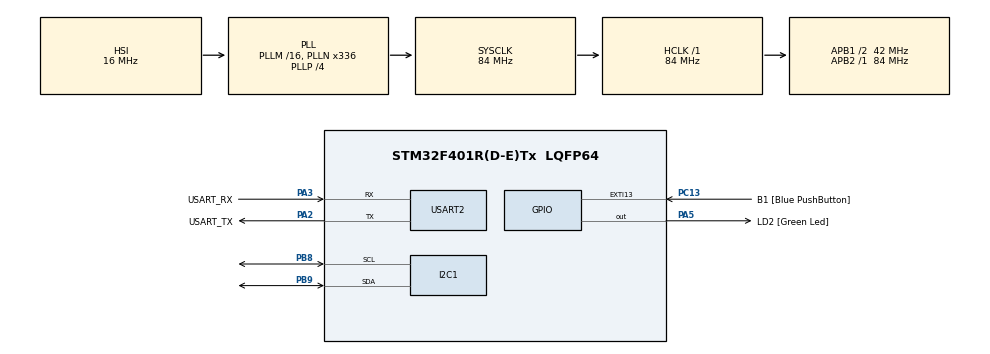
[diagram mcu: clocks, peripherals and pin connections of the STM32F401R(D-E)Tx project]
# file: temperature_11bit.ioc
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I2C1.AddressingMode=I2C_ADDRESSINGMODE_7BIT
Mcu.Family=STM32F4
Mcu.Name=STM32F401R(D-E)Tx
Mcu.Package=LQFP64
NVIC.PriorityGroup=NVIC_PRIORITYGROUP_0
NVIC.TIM2_IRQn=true\:0\:0\:false\:false\:true\:true\:true\:true
PA13.GPIO_Label=TMS
PA13.Mode=Serial_Wire
PA13.Signal=SYS_JTMS-SWDIO
PA14.GPIO_Label=TCK
PA14.Mode=Serial_Wire
PA14.Signal=SYS_JTCK-SWCLK
PA2.GPIO_Label=USART_TX
PA2.GPIO_Mode=GPIO_MODE_AF_PP
PA2.GPIO_PuPd=GPIO_NOPULL
PA2.GPIO_Speed=GPIO_SPEED_FREQ_LOW
PA2.Mode=Asynchronous
PA2.Signal=USART2_TX
PA3.GPIO_Label=USART_RX
PA3.GPIO_Mode=GPIO_MODE_AF_PP
PA3.GPIO_PuPd=GPIO_NOPULL
PA3.GPIO_Speed=GPIO_SPEED_FREQ_LOW
PA3.Mode=Asynchronous
PA3.Signal=USART2_RX
PA5.GPIO_Label=LD2 [Green Led]
PA5.GPIO_Mode=GPIO_MODE_OUTPUT_PP
PA5.GPIO_PuPd=GPIO_NOPULL
PA5.GPIO_Speed=GPIO_SPEED_FREQ_LOW
PA5.Signal=GPIO_Output
PB3.Signal=SYS_JTDO-SWO
PB8.Mode=I2C
PB8.Signal=I2C1_SCL
PB9.Mode=I2C
PB9.Signal=I2C1_SDA
PC13-ANTI_TAMP.GPIO_Label=B1 [Blue PushButton]
PC13-ANTI_TAMP.GPIO_ModeDefaultEXTI=GPIO_MODE_IT_FALLING
PC13-ANTI_TAMP.GPIO_PuPd=GPIO_NOPULL
PC13-ANTI_TAMP.Signal=GPXTI13
PC14-OSC32_IN.Mode=LSE-External-Oscillator
PC14-OSC32_IN.Signal=RCC_OSC32_IN
PC15-OSC32_OUT.Mode=LSE-External-Oscillator
PC15-OSC32_OUT.Signal=RCC_OSC32_OUT
PH0\ -\ OSC_IN.Mode=HSE-External-Clock-Source
PH0\ -\ OSC_IN.Signal=RCC_OSC_IN
PH1\ -\ OSC_OUT.Mode=HSE-External-Clock-Source
PH1\ -\ OSC_OUT.Signal=RCC_OSC_OUT
ProjectManager.HeapSize=0x200
ProjectManager.StackSize=0x400
ProjectManager.TargetToolchain=STM32CubeIDE
RCC.48MHZClocksFreq_Value=48000000
RCC.AHBFreq_Value=84000000
RCC.APB1CLKDivider=RCC_HCLK_DIV2
RCC.APB1Freq_Value=42000000
RCC.APB1TimFreq_Value=84000000
RCC.APB2Freq_Value=84000000
RCC.APB2TimFreq_Value=84000000
RCC.CortexFreq_Value=84000000
RCC.HCLKFreq_Value=84000000
RCC.HSE_VALUE=8000000
RCC.HSI_VALUE=16000000
RCC.PLLN=336
RCC.PLLP=RCC_PLLP_DIV4
RCC.PLLQ=7
RCC.SYSCLKFreq_VALUE=84000000
RCC.SYSCLKSource=RCC_SYSCLKSOURCE_PLLCLK
RCC.VCOOutputFreq_Value=336000000
TIM2.AutoReloadPreload=TIM_AUTORELOAD_PRELOAD_ENABLE
TIM2.Period=1000000-1
TIM2.Prescaler=84-1
USART2.VirtualMode=VM_ASYNC
VP_TIM2_VS_ClockSourceINT.Mode=Internal
board=NUCLEO-F401RE

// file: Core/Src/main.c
/* USER CODE BEGIN Header */
/**
  ******************************************************************************
  * @file           : main.c
  * @brief          : Main program body
  ******************************************************************************
  * @attention
  *
  * Copyright (c) 2022 STMicroelectronics.
  * All rights reserved.
  *
  * This software is licensed under terms that can be found in the LICENSE file
  * in the root directory of this software component.
  * If no LICENSE file comes with this software, it is provided AS-IS.
  *
  ******************************************************************************
  */
/* USER CODE END Header */
#include "main.h"

/* USER CODE BEGIN Includes */
#include <string.h>
#include <stdio.h>
/* USER CODE END Includes */

I2C_HandleTypeDef hi2c1;

TIM_HandleTypeDef htim2;

UART_HandleTypeDef huart2;

/* USER CODE BEGIN PV */
uint8_t TMP_ADDR = 0b10010000;
/* USER CODE END PV */

void SystemClock_Config(void);
static void MX_GPIO_Init(void);
static void MX_USART2_UART_Init(void);
static void MX_I2C1_Init(void);
static void MX_TIM2_Init(void);

int main(void)
{

  /* MCU Configuration--------------------------------------------------------*/

  /* Reset of all peripherals, Initializes the Flash interface and the Systick. */
  HAL_Init();

  /* Configure the system clock */
  SystemClock_Config();

  /* Initialize all configured peripherals */
  MX_GPIO_Init();
  MX_USART2_UART_Init();
  MX_I2C1_Init();
  MX_TIM2_Init();
  /* USER CODE BEGIN 2 */
  HAL_TIM_Base_Start_IT(&htim2);
  HAL_I2C_Master_Transmit(&hi2c1, TMP_ADDR, &TMP_ADDR, 1, 10);
  /* USER CODE END 2 */

  /* Infinite loop */
  while (1)
  {

  }
}

void SystemClock_Config(void)
{
  RCC_OscInitTypeDef RCC_OscInitStruct = {0};
  RCC_ClkInitTypeDef RCC_ClkInitStruct = {0};

  /** Configure the main internal regulator output voltage
  */
  __HAL_RCC_PWR_CLK_ENABLE();
  __HAL_PWR_VOLTAGESCALING_CONFIG(PWR_REGULATOR_VOLTAGE_SCALE2);

  /** Initializes the RCC Oscillators according to the specified parameters
  * in the RCC_OscInitTypeDef structure.
  */
  RCC_OscInitStruct.OscillatorType = RCC_OSCILLATORTYPE_HSI;
  RCC_OscInitStruct.HSIState = RCC_HSI_ON;
  RCC_OscInitStruct.HSICalibrationValue = RCC_HSICALIBRATION_DEFAULT;
  RCC_OscInitStruct.PLL.PLLState = RCC_PLL_ON;
  RCC_OscInitStruct.PLL.PLLSource = RCC_PLLSOURCE_HSI;
  RCC_OscInitStruct.PLL.PLLM = 16;
  RCC_OscInitStruct.PLL.PLLN = 336;
  RCC_OscInitStruct.PLL.PLLP = RCC_PLLP_DIV4;
  RCC_OscInitStruct.PLL.PLLQ = 7;
  if (HAL_RCC_OscConfig(&RCC_OscInitStruct) != HAL_OK)
  {
    Error_Handler();
  }

  /** Initializes the CPU, AHB and APB buses clocks
  */
  RCC_ClkInitStruct.ClockType = RCC_CLOCKTYPE_HCLK|RCC_CLOCKTYPE_SYSCLK
                              |RCC_CLOCKTYPE_PCLK1|RCC_CLOCKTYPE_PCLK2;
  RCC_ClkInitStruct.SYSCLKSource = RCC_SYSCLKSOURCE_PLLCLK;
  RCC_ClkInitStruct.AHBCLKDivider = RCC_SYSCLK_DIV1;
  RCC_ClkInitStruct.APB1CLKDivider = RCC_HCLK_DIV2;
  RCC_ClkInitStruct.APB2CLKDivider = RCC_HCLK_DIV1;

  if (HAL_RCC_ClockConfig(&RCC_ClkInitStruct, FLASH_LATENCY_2) != HAL_OK)
  {
    Error_Handler();
  }
}

static void MX_I2C1_Init(void)
{

  hi2c1.Instance = I2C1;
  hi2c1.Init.ClockSpeed = 100000;
  hi2c1.Init.DutyCycle = I2C_DUTYCYCLE_2;
  hi2c1.Init.OwnAddress1 = 0;
  hi2c1.Init.AddressingMode = I2C_ADDRESSINGMODE_7BIT;
  hi2c1.Init.DualAddressMode = I2C_DUALADDRESS_DISABLE;
  hi2c1.Init.OwnAddress2 = 0;
  hi2c1.Init.GeneralCallMode = I2C_GENERALCALL_DISABLE;
  hi2c1.Init.NoStretchMode = I2C_NOSTRETCH_DISABLE;
  if (HAL_I2C_Init(&hi2c1) != HAL_OK)
  {
    Error_Handler();
  }

}

static void MX_TIM2_Init(void)
{

  TIM_ClockConfigTypeDef sClockSourceConfig = {0};
  TIM_MasterConfigTypeDef sMasterConfig = {0};

  htim2.Instance = TIM2;
  htim2.Init.Prescaler = 84-1;
  htim2.Init.CounterMode = TIM_COUNTERMODE_UP;
  htim2.Init.Period = 1000000-1;
  htim2.Init.ClockDivision = TIM_CLOCKDIVISION_DIV1;
  htim2.Init.AutoReloadPreload = TIM_AUTORELOAD_PRELOAD_ENABLE;
  if (HAL_TIM_Base_Init(&htim2) != HAL_OK)
  {
    Error_Handler();
  }
  sClockSourceConfig.ClockSource = TIM_CLOCKSOURCE_INTERNAL;
  if (HAL_TIM_ConfigClockSource(&htim2, &sClockSourceConfig) != HAL_OK)
  {
    Error_Handler();
  }
  sMasterConfig.MasterOutputTrigger = TIM_TRGO_RESET;
  sMasterConfig.MasterSlaveMode = TIM_MASTERSLAVEMODE_DISABLE;
  if (HAL_TIMEx_MasterConfigSynchronization(&htim2, &sMasterConfig) != HAL_OK)
  {
    Error_Handler();
  }

}

static void MX_USART2_UART_Init(void)
{

  huart2.Instance = USART2;
  huart2.Init.BaudRate = 115200;
  huart2.Init.WordLength = UART_WORDLENGTH_8B;
  huart2.Init.StopBits = UART_STOPBITS_1;
  huart2.Init.Parity = UART_PARITY_NONE;
  huart2.Init.Mode = UART_MODE_TX_RX;
  huart2.Init.HwFlowCtl = UART_HWCONTROL_NONE;
  huart2.Init.OverSampling = UART_OVERSAMPLING_16;
  if (HAL_UART_Init(&huart2) != HAL_OK)
  {
    Error_Handler();
  }

}

static void MX_GPIO_Init(void)
{
  GPIO_InitTypeDef GPIO_InitStruct = {0};

  /* GPIO Ports Clock Enable */
  __HAL_RCC_GPIOC_CLK_ENABLE();
  __HAL_RCC_GPIOH_CLK_ENABLE();
  __HAL_RCC_GPIOA_CLK_ENABLE();
  __HAL_RCC_GPIOB_CLK_ENABLE();

  /*Configure GPIO pin Output Level */
  HAL_GPIO_WritePin(LD2_GPIO_Port, LD2_Pin, GPIO_PIN_RESET);

  /*Configure GPIO pin : B1_Pin */
  GPIO_InitStruct.Pin = B1_Pin;
  GPIO_InitStruct.Mode = GPIO_MODE_IT_FALLING;
  GPIO_InitStruct.Pull = GPIO_NOPULL;
  HAL_GPIO_Init(B1_GPIO_Port, &GPIO_InitStruct);

  /*Configure GPIO pin : LD2_Pin */
  GPIO_InitStruct.Pin = LD2_Pin;
  GPIO_InitStruct.Mode = GPIO_MODE_OUTPUT_PP;
  GPIO_InitStruct.Pull = GPIO_NOPULL;
  GPIO_InitStruct.Speed = GPIO_SPEED_FREQ_LOW;
  HAL_GPIO_Init(LD2_GPIO_Port, &GPIO_InitStruct);

}

/* USER CODE BEGIN 4 */
void HAL_TIM_PeriodElapsedCallback(TIM_HandleTypeDef *htim){
	uint8_t buf[2];
	uint16_t val;
	int16_t signed_val;

	int len;
	char string[64];
	float temperature;

	if(HAL_I2C_Master_Receive(&hi2c1, TMP_ADDR+1, buf, 2, 20) == HAL_OK){
		val = (buf[0] << 3 | buf[1] >> 5);

		if((val & 0x0400) != 0){
			signed_val = (int16_t)(val << 5)/32;
		}else{
			signed_val = (int16_t)val;
		}

		temperature = signed_val * 0.125;
		len = snprintf(string, sizeof(string), "temperature: %.3f\r\n", temperature);
	}else{
		len = snprintf(string, sizeof(string), "error during the readout of the temperature\r\n");
	}

	HAL_UART_Transmit(&huart2, string, len, 100);
}
/* USER CODE END 4 */

void Error_Handler(void)
{
  __disable_irq();
  while (1)
  {
  }
}
